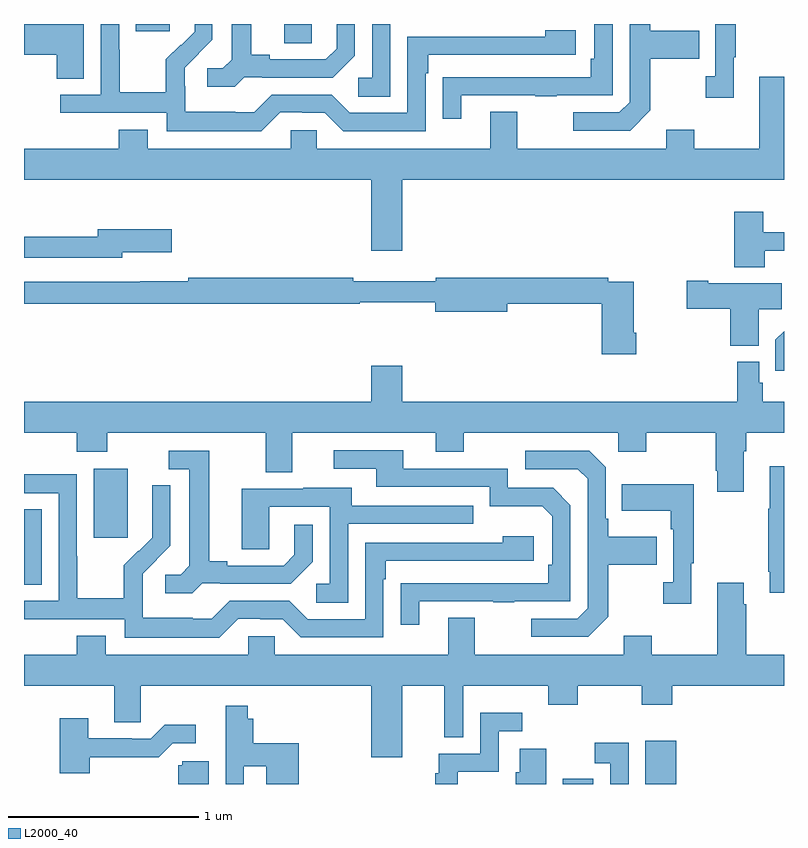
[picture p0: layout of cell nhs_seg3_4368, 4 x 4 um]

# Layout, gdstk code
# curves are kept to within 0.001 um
import gdstk
lib = gdstk.Library(unit=1e-6, precision=1e-09)
def R(c, l, rs):  # rectangles x0, y0, x1, y1
    for r in rs: c.add(gdstk.rectangle(r[:2], r[2:], *l))
def P(c, l, *ps):  # polygons
    for p in ps: c.add(gdstk.Polygon(p, *l))
L2000_40 = (2000, 40)

nhs_seg3_4368 = lib.new_cell('nhs_seg3_4368')
R(nhs_seg3_4368, L2000_40, [(345.836,700.4,345.997,700.428), (346.271,700.4,346.432,700.627), (343,701.449,343.093,701.846), (343.367,701.697,343.546,702.058), (344.369,704.299,344.514,704.4), (343.589,704.361,343.768,704.4)])
P(nhs_seg3_4368, L2000_40, [(344.16,704.121),(344.254,704.121),(344.254,704.118),(344.626,704.118),(344.742,704.234),(344.742,704.4),(344.645,704.4),(344.645,704.271),(344.588,704.214),(344.293,704.214),(344.293,704.237),(344.197,704.237),(344.197,704.4),(344.093,704.4),(344.093,704.213),(344.046,704.166),(343.965,704.166),(343.965,704.069),(344.108,704.069)],
  [(346.297,703.945),(346.297,704.218),(346.553,704.218),(346.553,704.365),(346.297,704.365),(346.297,704.4),(346.188,704.4),(346.188,703.989),(346.134,703.935),(345.891,703.935),(345.891,703.839),(346.191,703.839)],
  [(346.735,704.225),(346.747,704.225),(346.747,704.4),(346.638,704.4),(346.638,704.126),(346.587,704.126),(346.587,704.013),(346.735,704.013)],
  [(343.315,704.4),(343,704.4),(343,704.237),(343.172,704.237),(343.172,704.113),(343.315,704.113)],
  [(344.928,704.4),(344.832,704.4),(344.832,704.118),(344.76,704.118),(344.76,704.017),(344.928,704.017)],
  [(344.349,703.935),(344.465,703.935),(344.465,703.932),(344.583,703.932),(344.679,703.836),(345.114,703.836),(345.114,704.141),(345.127,704.141),(345.127,704.238),(345.904,704.238),(345.904,704.368),(345.743,704.368),(345.743,704.334),(345.018,704.334),(345.018,703.932),(344.715,703.932),(344.619,704.028),(344.304,704.028),(344.211,703.935),(344.111,703.935),(344.111,703.939),(343.848,703.939),(343.848,704.073),(343.846,704.073),(343.846,704.17),(343.992,704.318),(343.992,704.4),(343.898,704.4),(343.898,704.36),(343.827,704.289),(343.824,704.292),(343.747,704.215),(343.747,704.041),(343.503,704.041),(343.503,704.264),(343.5,704.264),(343.5,704.4),(343.404,704.4),(343.404,704.028),(343.191,704.028),(343.191,703.932),(343.752,703.932),(343.752,703.835),(344.249,703.835)],
  [(345.301,704.025),(345.691,704.025),(345.691,704.02),(345.803,704.02),(345.803,704.025),(346.098,704.025),(346.098,704.4),(346.002,704.4),(346.002,704.218),(345.982,704.218),(345.982,704.121),(345.307,704.121),(345.307,704.12),(345.205,704.12),(345.205,703.902),(345.301,703.902)],
  [(344.992,703.58),(347,703.58),(347,704.122),(346.871,704.122),(346.871,703.744),(346.527,703.744),(346.527,703.843),(346.379,703.843),(346.379,703.744),(345.595,703.744),(345.595,703.939),(345.455,703.939),(345.455,703.744),(344.541,703.744),(344.541,703.842),(344.403,703.842),(344.403,703.744),(343.651,703.744),(343.651,703.843),(343.499,703.843),(343.499,703.744),(343,703.744),(343,703.58),(344.828,703.58),(344.828,703.206),(344.992,703.206)],
  [(346.899,703.206),(347,703.206),(347,703.305),(346.891,703.305),(346.891,703.411),(346.739,703.411),(346.739,703.121),(346.899,703.121)],
  [(343.516,703.199),(343.777,703.199),(343.777,703.321),(343.388,703.321),(343.388,703.279),(343,703.279),(343,703.17),(343.516,703.17)],
  [(346.223,702.775),(346.21,702.775),(346.21,703.044),(346.076,703.044),(346.076,703.064),(345.168,703.064),(345.168,703.045),(344.732,703.045),(344.732,703.064),(343.864,703.064),(343.864,703.045),(343.612,703.045),(343.612,703.044),(343,703.044),(343,702.928),(344.768,702.928),(344.768,702.936),(345.164,702.936),(345.164,702.886),(345.544,702.886),(345.544,702.928),(346.04,702.928),(346.04,702.663),(346.223,702.663)],
  [(346.867,702.898),(346.988,702.898),(346.988,703.036),(346.6,703.036),(346.6,703.049),(346.488,703.049),(346.488,702.902),(346.718,702.902),(346.718,702.707),(346.867,702.707)],
  [(347,702.784),(346.954,702.738),(346.954,702.576),(347,702.576)],
  [(346.789,702.152),(346.802,702.152),(346.802,702.248),(347,702.248),(347,702.412),(346.889,702.412),(346.889,702.513),(346.869,702.513),(346.869,702.622),(346.753,702.622),(346.753,702.412),(344.992,702.412),(344.992,702.601),(344.828,702.601),(344.828,702.412),(343,702.412),(343,702.248),(343.277,702.248),(343.277,702.149),(343.437,702.149),(343.437,702.248),(344.273,702.248),(344.273,702.04),(344.413,702.04),(344.413,702.248),(345.167,702.248),(345.167,702.149),(345.315,702.149),(345.315,702.248),(346.128,702.248),(346.128,702.149),(346.275,702.149),(346.275,702.248),(346.642,702.248),(346.642,702.049),(346.649,702.049),(346.649,701.937),(346.789,701.937)],
  [(345.079,701.361),(345.469,701.361),(345.469,701.356),(345.581,701.356),(345.581,701.361),(345.876,701.361),(345.876,701.868),(345.786,701.958),(345.546,701.958),(345.546,702.06),(344.995,702.06),(344.995,702.156),(344.631,702.156),(344.631,702.06),(344.855,702.06),(344.855,701.964),(345.45,701.964),(345.45,701.861),(345.727,701.861),(345.78,701.808),(345.78,701.554),(345.76,701.554),(345.76,701.457),(344.983,701.456),(344.983,701.238),(345.079,701.238)],
  [(343.938,701.457),(344.032,701.457),(344.032,701.454),(344.404,701.454),(344.52,701.57),(344.52,701.764),(344.423,701.764),(344.423,701.607),(344.366,701.55),(344.071,701.55),(344.071,701.573),(343.975,701.573),(343.975,702.153),(343.761,702.153),(343.761,702.057),(343.871,702.057),(343.871,701.549),(343.824,701.502),(343.743,701.502),(343.743,701.405),(343.886,701.405)],
  [(346.075,701.281),(346.075,701.554),(346.331,701.554),(346.331,701.701),(346.075,701.701),(346.075,701.797),(346.062,701.797),(346.062,702.066),(345.975,702.153),(345.639,702.153),(345.639,702.057),(345.915,702.057),(345.966,702.006),(345.966,701.325),(345.912,701.271),(345.669,701.271),(345.669,701.175),(345.969,701.175)],
  [(347,702.073),(346.925,702.073),(346.925,701.849),(346.918,701.849),(346.918,701.518),(346.925,701.518),(346.925,701.406),(347,701.406)],
  [(344.127,701.271),(344.243,701.271),(344.243,701.268),(344.361,701.268),(344.457,701.172),(344.892,701.172),(344.892,701.477),(344.905,701.477),(344.905,701.574),(345.682,701.574),(345.682,701.704),(345.521,701.704),(345.521,701.67),(344.796,701.67),(344.796,701.268),(344.493,701.268),(344.397,701.364),(344.082,701.364),(343.989,701.271),(343.889,701.271),(343.889,701.275),(343.626,701.275),(343.626,701.409),(343.624,701.409),(343.624,701.506),(343.77,701.654),(343.77,701.972),(343.674,701.972),(343.674,701.818),(343.676,701.818),(343.676,701.696),(343.605,701.625),(343.602,701.628),(343.525,701.551),(343.525,701.377),(343.281,701.377),(343.281,701.6),(343.278,701.6),(343.278,702.03),(343,702.03),(343,701.931),(343.182,701.931),(343.182,701.364),(343,701.364),(343,701.268),(343.53,701.268),(343.53,701.171),(344.027,701.171)],
  [(346.513,701.561),(346.525,701.561),(346.525,701.977),(346.147,701.977),(346.147,701.837),(346.404,701.837),(346.404,701.741),(346.416,701.741),(346.416,701.462),(346.365,701.462),(346.365,701.349),(346.513,701.349)],
  [(344.706,701.769),(345.365,701.769),(345.365,701.865),(344.725,701.865),(344.725,701.959),(344.471,701.959),(344.471,701.955),(344.147,701.955),(344.147,701.635),(344.292,701.635),(344.292,701.859),(344.61,701.859),(344.61,701.454),(344.538,701.454),(344.538,701.353),(344.706,701.353)],
  [(344.992,700.916),(345.212,700.916),(345.212,700.645),(345.313,700.645),(345.313,700.916),(345.76,700.916),(345.76,700.817),(345.915,700.817),(345.915,700.916),(346.252,700.916),(346.252,700.817),(346.412,700.817),(346.412,700.916),(347,700.916),(347,701.08),(346.802,701.08),(346.802,701.345),(346.789,701.345),(346.789,701.458),(346.649,701.458),(346.649,701.08),(346.305,701.08),(346.305,701.179),(346.157,701.179),(346.157,701.08),(345.373,701.08),(345.373,701.275),(345.233,701.275),(345.233,701.08),(344.319,701.08),(344.319,701.178),(344.181,701.178),(344.181,701.08),(343.429,701.08),(343.429,701.179),(343.277,701.179),(343.277,701.08),(343,701.08),(343,700.916),(343.475,700.916),(343.475,700.726),(343.614,700.726),(343.614,700.916),(344.828,700.916),(344.828,700.542),(344.992,700.542)],
  [(344.157,700.493),(344.276,700.493),(344.276,700.4),(344.447,700.4),(344.447,700.615),(344.207,700.615),(344.207,700.744),(344.177,700.744),(344.177,700.813),(344.061,700.813),(344.061,700.4),(344.157,700.4)],
  [(345.283,700.464),(345.498,700.464),(345.498,700.677),(345.622,700.677),(345.622,700.774),(345.402,700.774),(345.402,700.56),(345.182,700.56),(345.182,700.457),(345.165,700.457),(345.165,700.4),(345.283,700.4)],
  [(343.347,700.542),(343.709,700.541),(343.782,700.614),(343.903,700.614),(343.903,700.711),(343.741,700.711),(343.668,700.638),(343.568,700.638),(343.568,700.641),(343.339,700.641),(343.339,700.747),(343.187,700.747),(343.187,700.457),(343.347,700.457)],
  [(346.182,700.618),(346.005,700.618),(346.005,700.509),(346.086,700.509),(346.086,700.4),(346.182,700.4)],
  [(345.748,700.585),(345.608,700.585),(345.608,700.461),(345.587,700.461),(345.587,700.4),(345.748,700.4)],
  [(343.972,700.521),(343.833,700.521),(343.833,700.5),(343.811,700.5),(343.811,700.4),(343.972,700.4)])

lib.write_gds('nhs_seg3_4368.gds')
